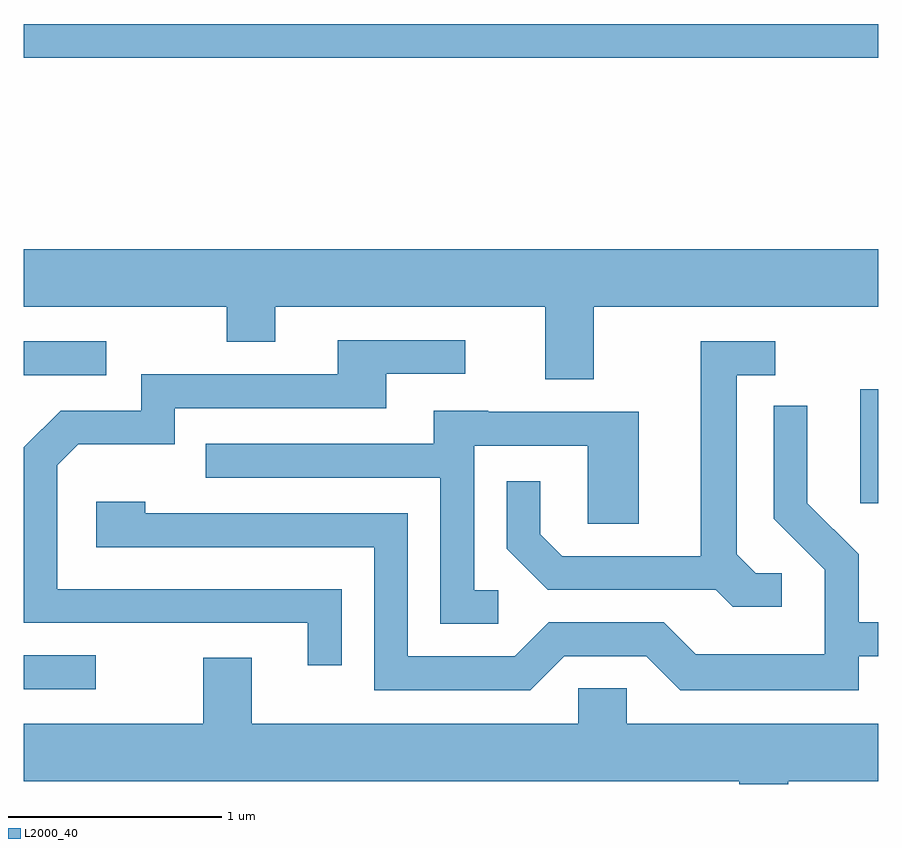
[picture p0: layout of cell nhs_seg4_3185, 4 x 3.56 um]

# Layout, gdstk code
import gdstk
lib = gdstk.Library(unit=1e-6, precision=1e-09)
def R(c, l, rs):  # rectangles x0, y0, x1, y1
    for r in rs: c.add(gdstk.rectangle(r[:2], r[2:], *l))
def P(c, l, *ps):  # polygons
    for p in ps: c.add(gdstk.Polygon(p, *l))
L2000_40 = (2000, 40)

nhs_seg4_3185 = lib.new_cell('nhs_seg4_3185')
R(nhs_seg4_3185, L2000_40, [(277.611,1368.426,277.948,1368.584), (281.526,1369.296,281.611,1369.829), (277.611,1369.896,277.998,1370.054), (277.611,1371.381,281.611,1371.539)])
P(nhs_seg4_3185, L2000_40, [(280.279,1370.216),(281.611,1370.216),(281.611,1370.484),(277.611,1370.484),(277.611,1370.216),(278.561,1370.216),(278.561,1370.051),(278.789,1370.051),(278.789,1370.216),(280.051,1370.216),(280.051,1369.876),(280.279,1369.876)],
  [(279.099,1368.894),(277.769,1368.894),(277.769,1369.474),(277.867,1369.571),(278.319,1369.571),(278.319,1369.741),(279.309,1369.741),(279.309,1369.901),(279.678,1369.901),(279.678,1370.059),(279.081,1370.059),(279.081,1369.899),(278.161,1369.899),(278.161,1369.729),(277.784,1369.729),(277.611,1369.557),(277.611,1368.736),(278.941,1368.736),(278.941,1368.538),(279.099,1368.538)],
  [(281.158,1368.969),(281.037,1368.969),(280.949,1369.057),(280.949,1369.896),(281.128,1369.896),(281.128,1370.054),(280.781,1370.054),(280.781,1369.049),(280.132,1369.049),(280.029,1369.152),(280.029,1369.398),(279.871,1369.398),(279.871,1369.084),(280.064,1368.891),(280.849,1368.891),(280.929,1368.811),(281.158,1368.811)],
  [(280.142,1368.581),(280.524,1368.581),(280.684,1368.421),(281.519,1368.421),(281.519,1368.581),(281.611,1368.581),(281.611,1368.739),(281.519,1368.739),(281.519,1369.057),(281.279,1369.297),(281.279,1369.753),(281.121,1369.753),(281.121,1369.224),(281.361,1368.984),(281.361,1368.589),(280.757,1368.589),(280.607,1368.739),(280.069,1368.739),(279.909,1368.579),(279.409,1368.579),(279.409,1369.249),(278.179,1369.249),(278.179,1369.304),(277.951,1369.304),(277.951,1369.091),(279.251,1369.091),(279.251,1368.421),(279.982,1368.421)],
  [(279.833,1368.889),(279.719,1368.889),(279.719,1369.566),(280.251,1369.566),(280.251,1369.201),(280.489,1369.201),(280.489,1369.724),(279.785,1369.724),(279.785,1369.729),(279.531,1369.729),(279.531,1369.574),(278.463,1369.574),(278.463,1369.416),(279.561,1369.416),(279.561,1368.731),(279.833,1368.731)],
  [(281.189,1367.996),(281.611,1367.996),(281.611,1368.264),(280.434,1368.264),(280.434,1368.429),(280.206,1368.429),(280.206,1368.264),(278.679,1368.264),(278.679,1368.574),(278.451,1368.574),(278.451,1368.264),(277.611,1368.264),(277.611,1367.996),(280.961,1367.996),(280.961,1367.982),(281.189,1367.982)])

lib.write_gds('nhs_seg4_3185.gds')
